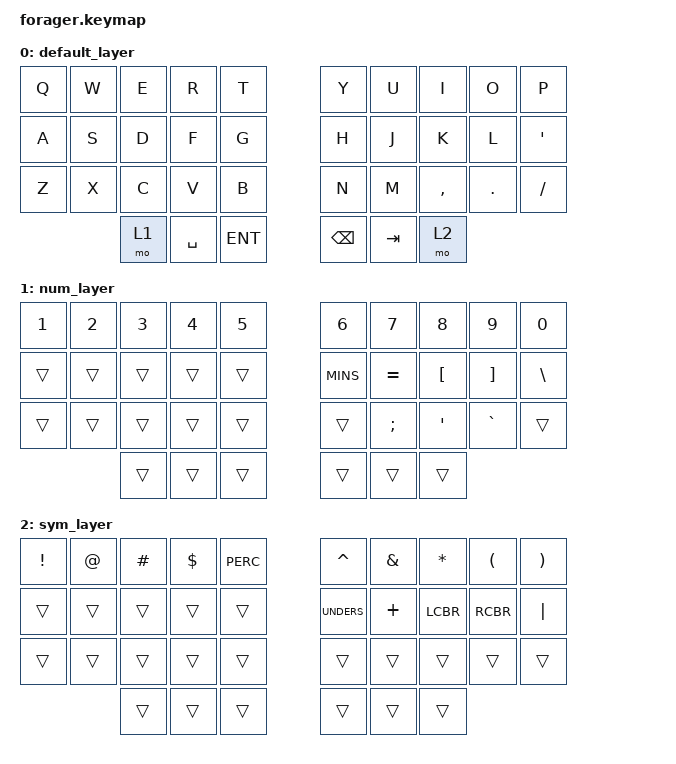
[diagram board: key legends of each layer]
/ {
  keymap {
    compatible = "zmk,keymap";

    default_layer {
      bindings = <
        &kp Q &kp W &kp E &kp R &kp T       &kp Y &kp U &kp I &kp O &kp P
        &kp A &kp S &kp D &kp F &kp G       &kp H &kp J &kp K &kp L &kp SQT
        &kp Z &kp X &kp C &kp V &kp B       &kp N &kp M &kp COMMA &kp DOT &kp FSLH
                      &mo 1 &kp SPC &kp ENT &kp BSPC &kp TAB &mo 2
      >;
    };

    num_layer {
      bindings = <
        &kp N1 &kp N2 &kp N3 &kp N4 &kp N5  &kp N6 &kp N7 &kp N8 &kp N9 &kp N0
        &trans &trans &trans &trans &trans  &kp MINS &kp EQL &kp LBKT &kp RBKT &kp BSLH
        &trans &trans &trans &trans &trans  &trans &kp SCLN &kp QUOT &kp GRAVE &trans
                      &trans &trans &trans   &trans &trans &trans
      >;
    };

    sym_layer {
      bindings = <
        &kp EXCL &kp AT &kp HASH &kp DLLR &kp PERC  &kp CARET &kp AMPS &kp ASTRK &kp LPAR &kp RPAR
        &trans   &trans &trans   &trans   &trans    &kp UNDERS &kp PLUS &kp LCBR &kp RCBR &kp PIPE
        &trans   &trans &trans   &trans   &trans    &trans &trans &trans &trans &trans
                     &trans &trans &trans          &trans &trans &trans
      >;
    };
  };
};
